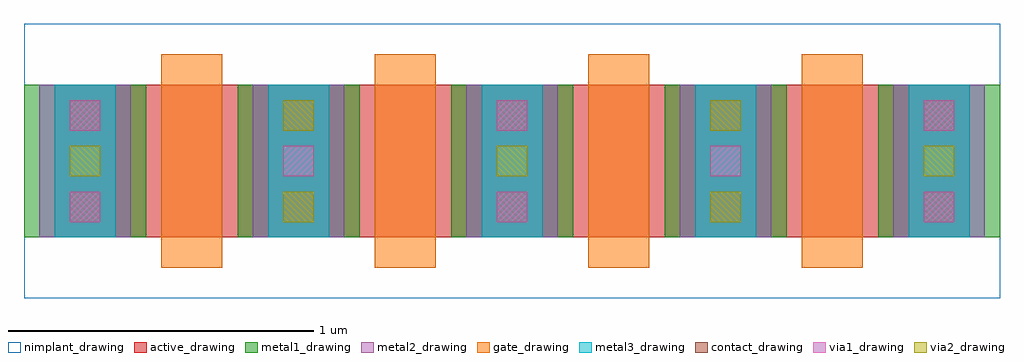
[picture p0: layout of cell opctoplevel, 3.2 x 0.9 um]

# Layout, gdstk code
import gdstk
lib = gdstk.Library(unit=1e-6, precision=1e-09)
def R(c, l, rs):  # rectangles x0, y0, x1, y1
    for r in rs: c.add(gdstk.rectangle(r[:2], r[2:], *l))
def A(c, l, x, y, w, h, nx, ny, dx, dy):  # array of equal rectangles
    R(c, l, [(x+i*dx, y+j*dy, x+i*dx+w, y+j*dy+h) for i in range(nx) for j in range(ny)])
active_drawing = (1, 0)
nimplant_drawing = (5, 0)
gate_drawing = (6, 0)
contact_drawing = (7, 0)
metal1_drawing = (8, 0)
via1_drawing = (9, 0)
metal2_drawing = (10, 0)
via2_drawing = (11, 0)
metal3_drawing = (12, 0)

opctoplevel = lib.new_cell('opctoplevel')
R(opctoplevel, active_drawing, [(-0.35,0,2.65,0.5)])
R(opctoplevel, nimplant_drawing, [(-0.45,-0.2,2.75,0.7)])
A(opctoplevel, gate_drawing, 0, -0.1, 0.2, 0.7, 4, 1, 0.7, 0)
A(opctoplevel, contact_drawing, -0.3, 0.05, 0.1, 0.1, 5, 2, 0.7, 0.3)
A(opctoplevel, metal1_drawing, -0.45, 0, 0.4, 0.5, 5, 1, 0.7, 0)
A(opctoplevel, via1_drawing, -0.3, 0.05, 0.1, 0.1, 3, 2, 1.4, 0.3)
R(opctoplevel, via1_drawing, [(0.4,0.2,0.5,0.3), (1.8,0.2,1.9,0.3)])
A(opctoplevel, metal2_drawing, -0.4, 0, 0.3, 0.5, 5, 1, 0.7, 0)
A(opctoplevel, via2_drawing, -0.3, 0.2, 0.1, 0.1, 3, 1, 1.4, 0)
R(opctoplevel, via2_drawing, [(0.4,0.05,0.5,0.15), (1.8,0.05,1.9,0.15), (0.4,0.35,0.5,0.45), (1.8,0.35,1.9,0.45)])
A(opctoplevel, metal3_drawing, -0.35, 0, 0.2, 0.5, 5, 1, 0.7, 0)

lib.write_gds('opctoplevel.gds')
